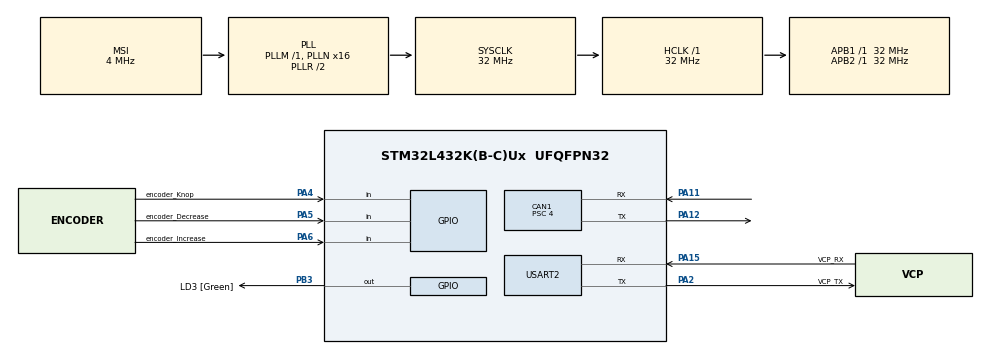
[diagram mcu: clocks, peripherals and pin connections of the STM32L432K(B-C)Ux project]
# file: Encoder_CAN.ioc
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CAN1.BS1=CAN_BS1_13TQ
CAN1.BS2=CAN_BS2_2TQ
CAN1.CalculateBaudRate=500000
CAN1.CalculateTimeBit=2000
CAN1.CalculateTimeQuantum=125.0
CAN1.Prescaler=4
Mcu.Family=STM32L4
Mcu.Name=STM32L432K(B-C)Ux
Mcu.Package=UFQFPN32
NVIC.PriorityGroup=NVIC_PRIORITYGROUP_4
PA0.GPIO_Label=MCO [High speed clock in]
PA0.Mode=HSE-External-Clock-Source-for-LittleOrca
PA0.Signal=RCC_CK_IN
PA11.Mode=CAN_Activate
PA11.Signal=CAN1_RX
PA12.Mode=CAN_Activate
PA12.Signal=CAN1_TX
PA13\ (JTMS-SWDIO).GPIO_Label=SWDIO
PA13\ (JTMS-SWDIO).Mode=Serial_Wire
PA13\ (JTMS-SWDIO).Signal=SYS_JTMS-SWDIO
PA14\ (JTCK-SWCLK).GPIO_Label=SWCLK
PA14\ (JTCK-SWCLK).Mode=Serial_Wire
PA14\ (JTCK-SWCLK).Signal=SYS_JTCK-SWCLK
PA15\ (JTDI).GPIO_Label=VCP_RX
PA15\ (JTDI).Mode=Asynchronous
PA15\ (JTDI).Signal=USART2_RX
PA2.GPIO_Label=VCP_TX
PA2.Mode=Asynchronous
PA2.Signal=USART2_TX
PA4.GPIO_Label=encoder_Knop
PA4.GPIO_PuPd=GPIO_PULLUP
PA4.Signal=GPIO_Input
PA5.GPIO_Label=encoder_Decrease
PA5.GPIO_PuPd=GPIO_PULLUP
PA5.Signal=GPIO_Input
PA6.GPIO_Label=encoder_Increase
PA6.GPIO_PuPd=GPIO_PULLUP
PA6.Signal=GPIO_Input
PB3\ (JTDO-TRACESWO).GPIO_Label=LD3 [Green]
PB3\ (JTDO-TRACESWO).Signal=GPIO_Output
PC14-OSC32_IN\ (PC14).Mode=LSE-External-Oscillator
PC14-OSC32_IN\ (PC14).Signal=RCC_OSC32_IN
PC15-OSC32_OUT\ (PC15).Mode=LSE-External-Oscillator
PC15-OSC32_OUT\ (PC15).Signal=RCC_OSC32_OUT
ProjectManager.HeapSize=0x200
ProjectManager.StackSize=0x400
ProjectManager.TargetToolchain=STM32CubeIDE
RCC.AHBFreq_Value=32000000
RCC.APB1Freq_Value=32000000
RCC.APB1TimFreq_Value=32000000
RCC.APB2Freq_Value=32000000
RCC.APB2TimFreq_Value=32000000
RCC.CortexFreq_Value=32000000
RCC.HCLKFreq_Value=32000000
RCC.HSE_VALUE=8000000
RCC.HSI16_VALUE=16000000
RCC.HSI48_VALUE=48000000
RCC.HSI_VALUE=16000000
RCC.MSI_VALUE=4000000
RCC.PLLMUL=RCC_PLLMUL_4
RCC.PLLN=16
RCC.SYSCLKFreq_VALUE=32000000
RCC.SYSCLKSource=RCC_SYSCLKSOURCE_PLLCLK
RCC.VCOOutputFreq_Value=64000000
USART2.VirtualMode-Asynchronous=VM_ASYNC
board=NUCLEO-L432KC

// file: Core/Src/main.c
/* USER CODE BEGIN Header */
/**
  ******************************************************************************
  * @file           : main.c
  * @brief          : Main program body
  ******************************************************************************
  * @attention
  *
  * Copyright (c) 2026 STMicroelectronics.
  * All rights reserved.
  *
  * This software is licensed under terms that can be found in the LICENSE file
  * in the root directory of this software component.
  * If no LICENSE file comes with this software, it is provided AS-IS.
  *
  ******************************************************************************
  */
/* USER CODE END Header */
#include "main.h"

/* USER CODE BEGIN Includes */
#include <stdio.h>
/* USER CODE END Includes */

/* USER CODE BEGIN PD */
#define STEPS_PER_REV 2
/* USER CODE END PD */

CAN_HandleTypeDef hcan1;

UART_HandleTypeDef huart2;

void SystemClock_Config(void);
static void MX_GPIO_Init(void);
static void MX_CAN1_Init(void);
static void MX_USART2_UART_Init(void);
/* USER CODE BEGIN PFP */
void sendCan(int revolutions);
/* USER CODE END PFP */

/* USER CODE BEGIN 0 */
int lastReportedSteps = 0;
int revolutions = 0;

typedef struct {
	uint16_t pin;
	GPIO_PinState state;
	char label[5];
} Button;

typedef struct {
	Button* buttonIncrease;
	Button* buttonDecrease;
	int state;
} Encoder;

int checkButton(Button* button) {//Return 0 if state is the same, 1 if state has changed
	GPIO_PinState value = HAL_GPIO_ReadPin(GPIOA, (*button).pin);
	if (value != (*button).state) {
		(*button).state = value;
		return 1;
	}
	else {
		return 0;
	}
}

int checkEncoder(Encoder* encoder)
{
    int change1 = checkButton(encoder->buttonIncrease);
    int change2 = checkButton(encoder->buttonDecrease);

    if (change1) {
        encoder->state++;
        return 1;
    }

    if (change2) {
        encoder->state--;
        return 1;
    }

    return 0;
}
/* USER CODE END 0 */

int main(void)
{

  /* MCU Configuration--------------------------------------------------------*/

  /* Reset of all peripherals, Initializes the Flash interface and the Systick. */
  HAL_Init();

  /* Configure the system clock */
  SystemClock_Config();

  /* Initialize all configured peripherals */
  MX_GPIO_Init();
  MX_CAN1_Init();
  MX_USART2_UART_Init();
  /* USER CODE BEGIN 2 */
  HAL_CAN_Start(&hcan1);

  Button buttons[3] = {};

  buttons[0].pin = encoder_Knop_Pin;
  buttons[0].state = HAL_GPIO_ReadPin(GPIOA, encoder_Knop_Pin);
  sprintf(buttons[0].label, "enbu");

  buttons[1].pin = encoder_Decrease_Pin;
  buttons[1].state = HAL_GPIO_ReadPin(GPIOA, encoder_Decrease_Pin);
  sprintf(buttons[1].label, "ende");

  buttons[2].pin = encoder_Increase_Pin;
  buttons[2].state = HAL_GPIO_ReadPin(GPIOA, encoder_Increase_Pin);
  sprintf(buttons[2].label, "enin");

  Encoder encoder = {&buttons[2], &buttons[1], 0};

  char initString[] = "Start\n\r";
  HAL_UART_Transmit(&huart2, //pointer naar struct
	  initString, //pointer naar data
	  7, //Lengte
	  5000); //TimeoutHAL_UART_TRANSMIT();
  /* USER CODE END 2 */

  /* Infinite loop */
  /* USER CODE BEGIN WHILE */
  while (1)
  {
	  //Buttons, starts at last button to avoid updating the encoder
	 	  for (int i=0; i<1; i++) {
	 		  Button* button = &buttons[i];
	 		  int changed = checkButton(button);
	 		  if (changed) {
	 			  char string[40];
	 			  int stringLen = 0;
	 			  if ((*button).state==GPIO_PIN_SET) {
	 				  stringLen = sprintf(string, "Button %s changed state to OFF\n\r", (*button).label);
	 			  }
	 			  else {
	 				  stringLen = sprintf(string, "Button %s changed state to ON\n\r", (*button).label);
	 			  }
	 			  HAL_UART_Transmit(&huart2, //pointer naar struct
	 					  string, //pointer naar data
	 					  stringLen, //Lengte
	 					  5000); //TimeoutHAL_UART_TRANSMIT();
	 		  }
	 	  }

	 	  //Encoder
	 	  int changed = checkEncoder(&encoder);
	 	  if (encoder.state - lastReportedSteps >= STEPS_PER_REV)
	 	  {
	 		  revolutions++;
	 		  lastReportedSteps += STEPS_PER_REV;

	 		  sendCan(revolutions);
	 		 char msg[40];
	 		 int len = sprintf(msg, "SEND CAN: %d\n\r", revolutions);
	 		 HAL_UART_Transmit(&huart2, (uint8_t*)msg, len, 100);

	 	  }
	 	  if (encoder.state - lastReportedSteps <= -STEPS_PER_REV)
	 	  {
	 		  revolutions--;
	 		  lastReportedSteps -= STEPS_PER_REV;

	 		  sendCan(revolutions);
	 	  }
	 	  if (changed) {
	 		  char string[40];
	 		  int stringLen = sprintf(string, "Encoder changed: %d\n\r", encoder.state);
	 		  HAL_UART_Transmit(&huart2, //pointer naar struct
	 				  string, //pointer naar data
	 				  stringLen, //Lengte
	 				  5000); //TimeoutHAL_UART_TRANSMIT();
	 	  }

	 	 GPIO_PinState a = HAL_GPIO_ReadPin(GPIOA, encoder_Increase_Pin);
	 	 GPIO_PinState b = HAL_GPIO_ReadPin(GPIOA, encoder_Decrease_Pin);

	 	 char msg[40];
	 	 int len = sprintf(msg, "A:%d B:%d\n\r", a, b);
	 	 HAL_UART_Transmit(&huart2, (uint8_t*)msg, len, 100);

	 	 HAL_Delay(200);

    /* USER CODE END WHILE */

  }
}

void SystemClock_Config(void)
{
  RCC_OscInitTypeDef RCC_OscInitStruct = {0};
  RCC_ClkInitTypeDef RCC_ClkInitStruct = {0};

  /** Configure the main internal regulator output voltage
  */
  if (HAL_PWREx_ControlVoltageScaling(PWR_REGULATOR_VOLTAGE_SCALE1) != HAL_OK)
  {
    Error_Handler();
  }

  /** Configure LSE Drive Capability
  */
  HAL_PWR_EnableBkUpAccess();
  __HAL_RCC_LSEDRIVE_CONFIG(RCC_LSEDRIVE_LOW);

  /** Initializes the RCC Oscillators according to the specified parameters
  * in the RCC_OscInitTypeDef structure.
  */
  RCC_OscInitStruct.OscillatorType = RCC_OSCILLATORTYPE_LSE|RCC_OSCILLATORTYPE_MSI;
  RCC_OscInitStruct.LSEState = RCC_LSE_ON;
  RCC_OscInitStruct.MSIState = RCC_MSI_ON;
  RCC_OscInitStruct.MSICalibrationValue = 0;
  RCC_OscInitStruct.MSIClockRange = RCC_MSIRANGE_6;
  RCC_OscInitStruct.PLL.PLLState = RCC_PLL_ON;
  RCC_OscInitStruct.PLL.PLLSource = RCC_PLLSOURCE_MSI;
  RCC_OscInitStruct.PLL.PLLM = 1;
  RCC_OscInitStruct.PLL.PLLN = 16;
  RCC_OscInitStruct.PLL.PLLP = RCC_PLLP_DIV7;
  RCC_OscInitStruct.PLL.PLLQ = RCC_PLLQ_DIV2;
  RCC_OscInitStruct.PLL.PLLR = RCC_PLLR_DIV2;
  if (HAL_RCC_OscConfig(&RCC_OscInitStruct) != HAL_OK)
  {
    Error_Handler();
  }

  /** Initializes the CPU, AHB and APB buses clocks
  */
  RCC_ClkInitStruct.ClockType = RCC_CLOCKTYPE_HCLK|RCC_CLOCKTYPE_SYSCLK
                              |RCC_CLOCKTYPE_PCLK1|RCC_CLOCKTYPE_PCLK2;
  RCC_ClkInitStruct.SYSCLKSource = RCC_SYSCLKSOURCE_PLLCLK;
  RCC_ClkInitStruct.AHBCLKDivider = RCC_SYSCLK_DIV1;
  RCC_ClkInitStruct.APB1CLKDivider = RCC_HCLK_DIV1;
  RCC_ClkInitStruct.APB2CLKDivider = RCC_HCLK_DIV1;

  if (HAL_RCC_ClockConfig(&RCC_ClkInitStruct, FLASH_LATENCY_1) != HAL_OK)
  {
    Error_Handler();
  }

  /** Enable MSI Auto calibration
  */
  HAL_RCCEx_EnableMSIPLLMode();
}

static void MX_CAN1_Init(void)
{

  hcan1.Instance = CAN1;
  hcan1.Init.Prescaler = 4;
  hcan1.Init.Mode = CAN_MODE_NORMAL;
  hcan1.Init.SyncJumpWidth = CAN_SJW_1TQ;
  hcan1.Init.TimeSeg1 = CAN_BS1_13TQ;
  hcan1.Init.TimeSeg2 = CAN_BS2_2TQ;
  hcan1.Init.TimeTriggeredMode = DISABLE;
  hcan1.Init.AutoBusOff = DISABLE;
  hcan1.Init.AutoWakeUp = DISABLE;
  hcan1.Init.AutoRetransmission = DISABLE;
  hcan1.Init.ReceiveFifoLocked = DISABLE;
  hcan1.Init.TransmitFifoPriority = DISABLE;
  if (HAL_CAN_Init(&hcan1) != HAL_OK)
  {
    Error_Handler();
  }

}

static void MX_USART2_UART_Init(void)
{

  huart2.Instance = USART2;
  huart2.Init.BaudRate = 115200;
  huart2.Init.WordLength = UART_WORDLENGTH_8B;
  huart2.Init.StopBits = UART_STOPBITS_1;
  huart2.Init.Parity = UART_PARITY_NONE;
  huart2.Init.Mode = UART_MODE_TX_RX;
  huart2.Init.HwFlowCtl = UART_HWCONTROL_NONE;
  huart2.Init.OverSampling = UART_OVERSAMPLING_16;
  huart2.Init.OneBitSampling = UART_ONE_BIT_SAMPLE_DISABLE;
  huart2.AdvancedInit.AdvFeatureInit = UART_ADVFEATURE_NO_INIT;
  if (HAL_UART_Init(&huart2) != HAL_OK)
  {
    Error_Handler();
  }

}

static void MX_GPIO_Init(void)
{
  GPIO_InitTypeDef GPIO_InitStruct = {0};

  /* GPIO Ports Clock Enable */
  __HAL_RCC_GPIOC_CLK_ENABLE();
  __HAL_RCC_GPIOA_CLK_ENABLE();
  __HAL_RCC_GPIOB_CLK_ENABLE();

  /*Configure GPIO pin Output Level */
  HAL_GPIO_WritePin(LD3_GPIO_Port, LD3_Pin, GPIO_PIN_RESET);

  /*Configure GPIO pins : encoder_Knop_Pin encoder_Decrease_Pin encoder_Increase_Pin */
  GPIO_InitStruct.Pin = encoder_Knop_Pin|encoder_Decrease_Pin|encoder_Increase_Pin;
  GPIO_InitStruct.Mode = GPIO_MODE_INPUT;
  GPIO_InitStruct.Pull = GPIO_PULLUP;
  HAL_GPIO_Init(GPIOA, &GPIO_InitStruct);

  /*Configure GPIO pin : LD3_Pin */
  GPIO_InitStruct.Pin = LD3_Pin;
  GPIO_InitStruct.Mode = GPIO_MODE_OUTPUT_PP;
  GPIO_InitStruct.Pull = GPIO_NOPULL;
  GPIO_InitStruct.Speed = GPIO_SPEED_FREQ_LOW;
  HAL_GPIO_Init(LD3_GPIO_Port, &GPIO_InitStruct);

}

/* USER CODE BEGIN 4 */
void sendCan(int revolutions)
{
	CAN_TxHeaderTypeDef txHeader;
	uint8_t data[8];
	uint32_t txMailbox;

	txHeader.StdId = 0x1FE;
	txHeader.ExtId = 0;
	txHeader.IDE = CAN_ID_STD;
	txHeader.RTR = CAN_RTR_DATA;
	txHeader.DLC = 1;

	data[0] = (int8_t)revolutions;

	HAL_StatusTypeDef status = HAL_CAN_AddTxMessage(&hcan1, &txHeader, data, &txMailbox);

	if (status != HAL_OK) {
	    char msg[] = "CAN FAIL\n\r";
	    HAL_UART_Transmit(&huart2, (uint8_t*)msg, sizeof(msg), 100);
	} else {
	    char msg[] = "CAN OK\n\r";
	    HAL_UART_Transmit(&huart2, (uint8_t*)msg, sizeof(msg), 100);
	}
}
/* USER CODE END 4 */

void Error_Handler(void)
{
  __disable_irq();
  while (1)
  {
  }
}
